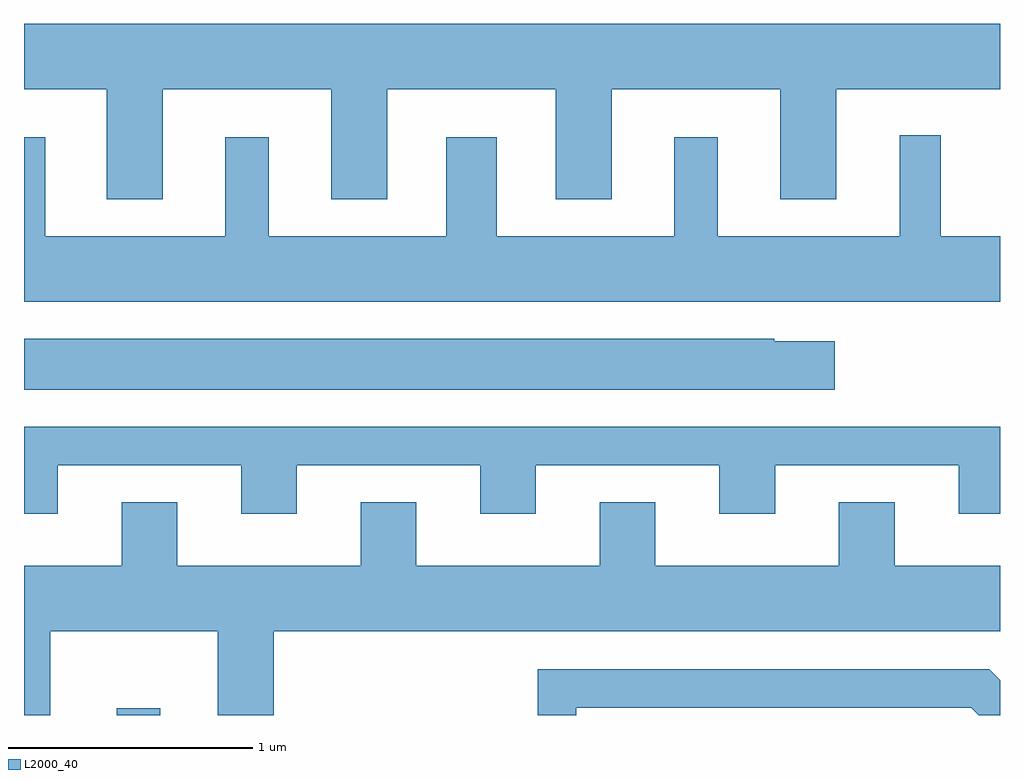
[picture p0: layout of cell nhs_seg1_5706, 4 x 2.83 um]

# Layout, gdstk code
import gdstk
lib = gdstk.Library(unit=1e-6, precision=1e-09)
def R(c, l, rs):  # rectangles x0, y0, x1, y1
    for r in rs: c.add(gdstk.rectangle(r[:2], r[2:], *l))
def P(c, l, *ps):  # polygons
    for p in ps: c.add(gdstk.Polygon(p, *l))
L2000_40 = (2000, 40)

nhs_seg1_5706 = lib.new_cell('nhs_seg1_5706')
R(nhs_seg1_5706, L2000_40, [(357.991,863.712,358.169,863.739)])
P(nhs_seg1_5706, L2000_40, [(358.179,866.276),(358.871,866.276),(358.871,865.826),(359.099,865.826),(359.099,866.276),(359.791,866.276),(359.791,865.826),(360.019,865.826),(360.019,866.276),(360.711,866.276),(360.711,865.826),(360.939,865.826),(360.939,866.276),(361.611,866.276),(361.611,866.544),(357.611,866.544),(357.611,866.276),(357.951,866.276),(357.951,865.826),(358.179,865.826)],
  [(361.611,865.674),(361.369,865.674),(361.369,866.088),(361.201,866.088),(361.201,865.674),(360.454,865.674),(360.454,866.079),(360.276,866.079),(360.276,865.674),(359.549,865.674),(359.549,866.079),(359.341,866.079),(359.341,865.674),(358.614,865.674),(358.614,866.079),(358.436,866.079),(358.436,865.674),(357.699,865.674),(357.699,866.079),(357.611,866.079),(357.611,865.406),(361.611,865.406)],
  [(360.934,865.244),(360.685,865.244),(360.685,865.254),(357.611,865.254),(357.611,865.046),(360.934,865.046)],
  [(357.749,864.736),(358.501,864.736),(358.501,864.536),(358.729,864.536),(358.729,864.736),(359.481,864.736),(359.481,864.536),(359.709,864.536),(359.709,864.736),(360.461,864.736),(360.461,864.536),(360.689,864.536),(360.689,864.736),(361.441,864.736),(361.441,864.536),(361.611,864.536),(361.611,864.894),(357.611,864.894),(357.611,864.536),(357.749,864.536)],
  [(357.719,864.056),(358.406,864.056),(358.406,863.712),(358.634,863.712),(358.634,864.056),(361.611,864.056),(361.611,864.324),(361.179,864.324),(361.179,864.584),(360.951,864.584),(360.951,864.324),(360.199,864.324),(360.199,864.584),(359.971,864.584),(359.971,864.324),(359.219,864.324),(359.219,864.584),(358.991,864.584),(358.991,864.324),(358.239,864.324),(358.239,864.584),(358.011,864.584),(358.011,864.324),(357.611,864.324),(357.611,863.712),(357.719,863.712)],
  [(359.874,863.741),(361.494,863.741),(361.523,863.712),(361.611,863.712),(361.611,863.855),(361.567,863.899),(359.716,863.899),(359.716,863.712),(359.874,863.712)])

lib.write_gds('nhs_seg1_5706.gds')
